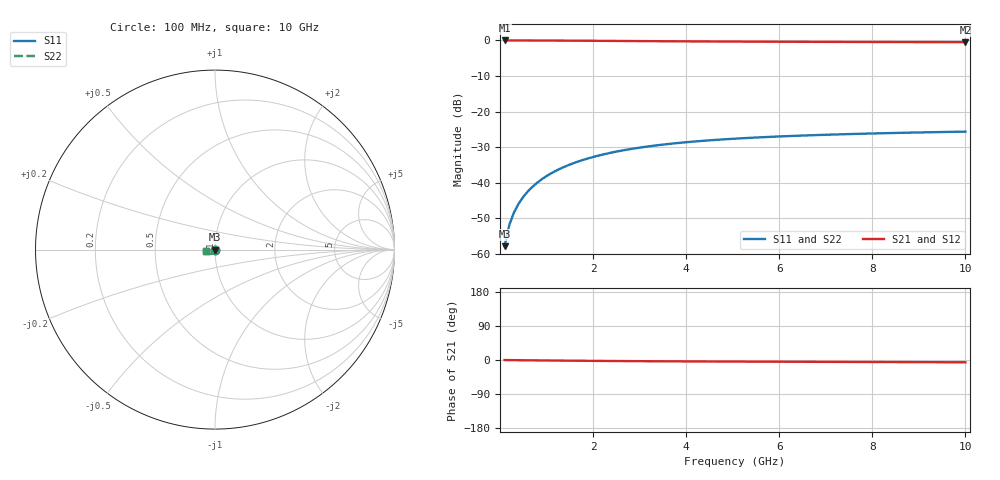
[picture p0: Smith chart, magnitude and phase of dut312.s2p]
! Touchstone file exported from HFSS 2024.1.0
!  File:  C:/UserFiles/LocalFiles/RDL_TSV_Batchsim/temp_TSV1_312_1779616042.aedt
!  Generated:  05:53:24 PM May 24, 2026
!  Design:  TSV1
!  Project:  temp_TSV1_312_1779616042
!  Setup:  Setup1
!  Solution:  Sweep
! Variables:
!  dtsv = 8.44um
!  hbump = 3um
!  htsv = 96.67um
!  lrdl = 252.1521522um
!  p = 40
!  p1 = 40.61um
!  t = 500um
!  trdl = 3um
!  wrdl = 24.89489489um
# GHz S MA R 50.000000
! Terminal data exported
! Port[1] = TSV22_T1
! Port[2] = TSV22_T2
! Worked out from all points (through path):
!   100 points, 100 MHz to 10 GHz, reference 50 ohm
!   highest |S21| = 0.00 dB at 100 MHz (marker M1); lowest = -0.5 dB at 10 GHz (marker M2)
!   lowest |S11| = -57.9 dB at 100 MHz (marker M3), VSWR 1.00, Z = 50 - j0.126 ohm
!   |S11| at or under -10 dB: start of sweep to end of sweep
!   |S22| runs from -57.9 to -25.7 dB; largest |S21 - S12| = 9.2e-15
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0.1  0.001276 -81.0  0.9997 -0.1  0.9997 -0.1  0.001276 -81.0
! Gamma 0 0 0 0
! Port Impedance 50 0 50 0
0.2  0.002528 -87.5  0.9996 -0.3  0.9996 -0.3  0.002528 -87.5
0.3  0.003788 -90.8  0.9994 -0.4  0.9994 -0.4  0.003788 -90.8
0.4  0.005046 -93.2  0.9992 -0.5  0.9992 -0.5  0.005046 -93.2
0.5  0.006297 -95.3  0.9989 -0.6  0.9989 -0.6  0.006297 -95.3
0.6  0.007537 -97.2  0.9985 -0.8  0.9985 -0.8  0.007537 -97.2
0.7  0.008764 -98.9  0.9981 -0.9  0.9981 -0.9  0.008764 -98.9
0.8  0.009977 -100.7  0.9976 -1.0  0.9976 -1.0  0.009977 -100.7
0.9  0.01117 -102.3  0.997 -1.1  0.997 -1.1  0.01117 -102.3
1.1  0.01351 -105.5  0.9958 -1.4  0.9958 -1.4  0.01351 -105.5
1.4  0.01687 -110.0  0.9937 -1.7  0.9937 -1.7  0.01687 -110.0
1.6  0.01899 -112.8  0.9921 -1.9  0.9921 -1.9  0.01899 -112.8
1.8  0.02101 -115.6  0.9904 -2.1  0.9904 -2.1  0.02101 -115.6
2.1  0.02385 -119.5  0.9877 -2.4  0.9877 -2.4  0.02385 -119.5
2.5  0.02729 -124.4  0.9841 -2.7  0.9841 -2.7  0.02729 -124.4
2.9  0.03034 -129.0  0.9805 -3.0  0.9805 -3.0  0.03034 -129.0
3.4  0.03365 -134.2  0.9761 -3.3  0.9761 -3.3  0.03365 -134.2
4.2  0.03797 -141.4  0.9699 -3.8  0.9699 -3.8  0.03797 -141.4
5.1  0.04171 -148.4  0.9639 -4.2  0.9639 -4.2  0.04171 -148.4
6.7  0.04642 -158.5  0.956 -4.8  0.956 -4.8  0.04642 -158.5
8.4  0.04981 -167.0  0.9501 -5.4  0.9501 -5.4  0.04981 -167.0
10  0.05217 -173.7  0.9462 -6.0  0.9462 -6.0  0.05217 -173.7
